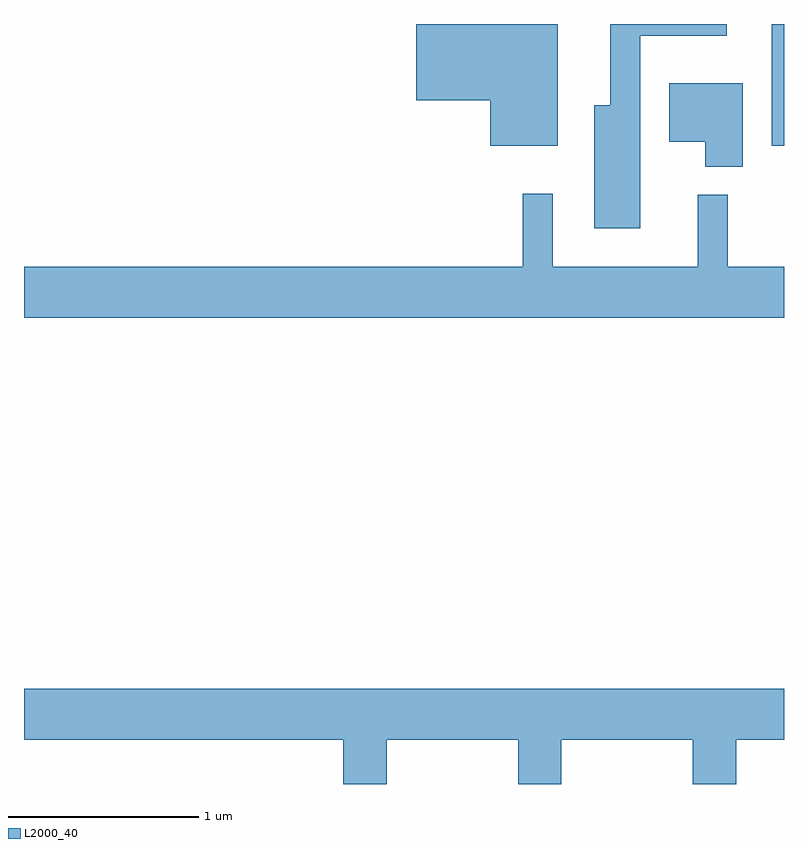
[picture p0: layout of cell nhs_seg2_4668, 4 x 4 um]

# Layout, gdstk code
import gdstk
lib = gdstk.Library(unit=1e-6, precision=1e-09)
def R(c, l, rs):  # rectangles x0, y0, x1, y1
    for r in rs: c.add(gdstk.rectangle(r[:2], r[2:], *l))
def P(c, l, *ps):  # polygons
    for p in ps: c.add(gdstk.Polygon(p, *l))
L2000_40 = (2000, 40)

nhs_seg2_4668 = lib.new_cell('nhs_seg2_4668')
R(nhs_seg2_4668, L2000_40, [(325.546,1109.161,325.611,1109.802)])
P(nhs_seg2_4668, L2000_40, [(324.854,1109.741),(325.309,1109.741),(325.309,1109.802),(324.696,1109.802),(324.696,1109.374),(324.611,1109.374),(324.611,1108.726),(324.854,1108.726)],
  [(324.419,1109.802),(323.676,1109.802),(323.676,1109.401),(324.066,1109.401),(324.066,1109.161),(324.419,1109.161)],
  [(325.394,1109.489),(325.006,1109.489),(325.006,1109.181),(325.196,1109.181),(325.196,1109.051),(325.394,1109.051)],
  [(325.611,1108.524),(325.314,1108.524),(325.314,1108.903),(325.156,1108.903),(325.156,1108.524),(324.394,1108.524),(324.394,1108.908),(324.236,1108.908),(324.236,1108.524),(321.611,1108.524),(321.611,1108.256),(325.611,1108.256)],
  [(323.519,1106.036),(324.211,1106.036),(324.211,1105.802),(324.439,1105.802),(324.439,1106.036),(325.131,1106.036),(325.131,1105.802),(325.359,1105.802),(325.359,1106.036),(325.611,1106.036),(325.611,1106.304),(321.611,1106.304),(321.611,1106.036),(323.291,1106.036),(323.291,1105.802),(323.519,1105.802)])

lib.write_gds('nhs_seg2_4668.gds')
